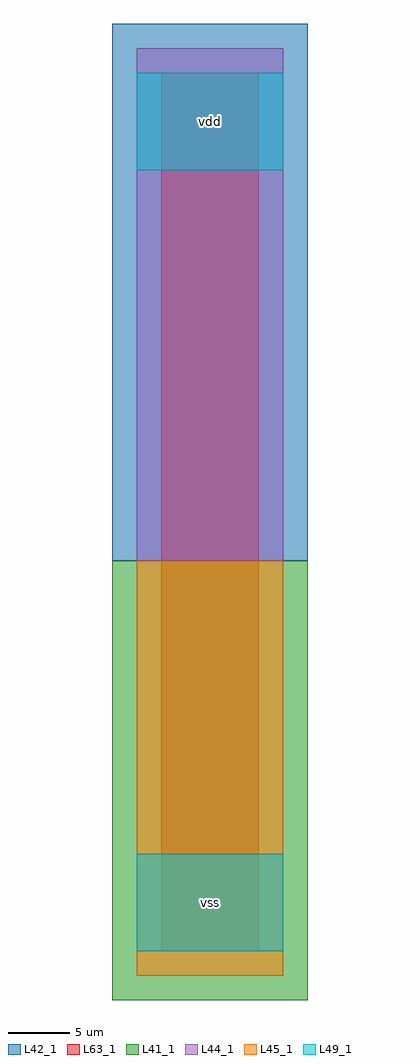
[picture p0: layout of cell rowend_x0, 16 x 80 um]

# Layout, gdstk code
import gdstk
lib = gdstk.Library(unit=1e-6, precision=1e-09)
def R(c, l, rs):  # rectangles x0, y0, x1, y1
    for r in rs: c.add(gdstk.rectangle(r[:2], r[2:], *l))
L41_1 = (41, 1)
L42_1 = (42, 1)
L44_1 = (44, 1)
L45_1 = (45, 1)
L49_1 = (49, 1)
L63_1 = (63, 1)

rowend_x0 = lib.new_cell('rowend_x0')
R(rowend_x0, L41_1, [(-4,-4,12,32)])
R(rowend_x0, L42_1, [(-4,32,12,76)])
R(rowend_x0, L44_1, [(-2,32,10,74)])
R(rowend_x0, L45_1, [(-2,-2,10,32)])
R(rowend_x0, L49_1, [(-2,0,10,8), (-2,64,10,72)])
R(rowend_x0, L63_1, [(0,0,8,72)])
rowend_x0.add(gdstk.Label('vss', (4,4), layer=49, texttype=1))
rowend_x0.add(gdstk.Label('vdd', (4,68), layer=49, texttype=1))

lib.write_gds('rowend_x0.gds')
